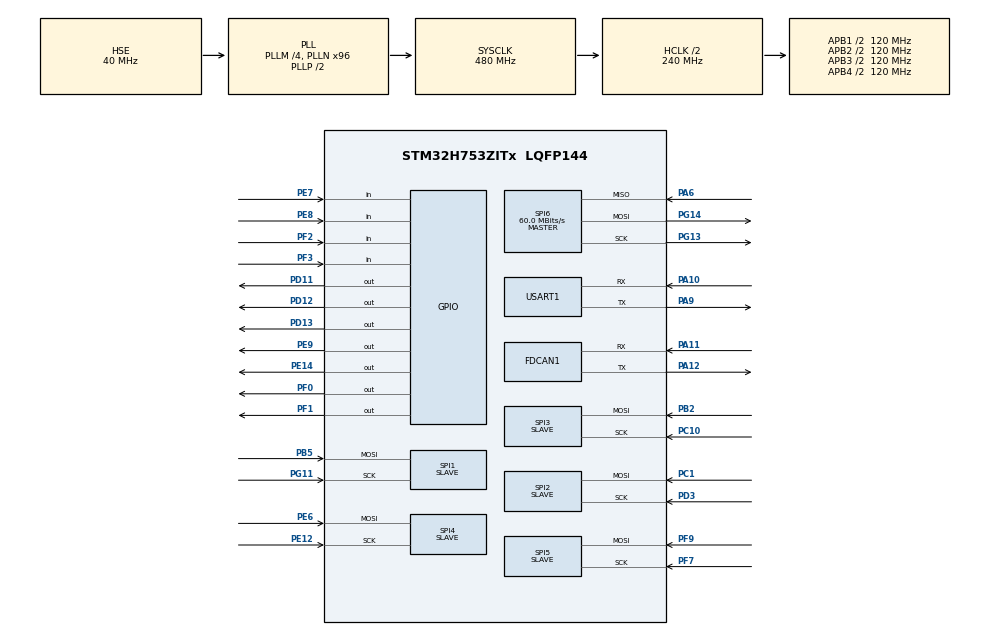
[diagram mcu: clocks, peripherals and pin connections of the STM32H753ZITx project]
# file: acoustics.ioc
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CORTEX_M7.default_mode_Activation=1
FDCAN1.CalculateBaudRateNominal=833333
FDCAN1.CalculateTimeBitNominal=1200
FDCAN1.CalculateTimeQuantumNominal=400.0
Mcu.Family=STM32H7
Mcu.Name=STM32H753ZITx
Mcu.Package=LQFP144
NVIC.PriorityGroup=NVIC_PRIORITYGROUP_4
PA10.Mode=Asynchronous
PA10.Signal=USART1_RX
PA11.Mode=FDCAN_Activate
PA11.Signal=FDCAN1_RX
PA12.Mode=FDCAN_Activate
PA12.Signal=FDCAN1_TX
PA13\ (JTMS/SWDIO).Mode=JTAG_5_pins
PA13\ (JTMS/SWDIO).Signal=DEBUG_JTMS-SWDIO
PA14\ (JTCK/SWCLK).Mode=JTAG_5_pins
PA14\ (JTCK/SWCLK).Signal=DEBUG_JTCK-SWCLK
PA15\ (JTDI).Mode=JTAG_5_pins
PA15\ (JTDI).Signal=DEBUG_JTDI
PA6.Mode=Full_Duplex_Master
PA6.Signal=SPI6_MISO
PA9.Mode=Asynchronous
PA9.Signal=USART1_TX
PB2.Mode=RX_Only_Simplex_Unidirect_Slave
PB2.Signal=SPI3_MOSI
PB3\ (JTDO/TRACESWO).Mode=JTAG_5_pins
PB3\ (JTDO/TRACESWO).Signal=DEBUG_JTDO-SWO
PB4\ (NJTRST).Mode=JTAG_5_pins
PB4\ (NJTRST).Signal=DEBUG_JTRST
PB5.Mode=RX_Only_Simplex_Unidirect_Slave
PB5.Signal=SPI1_MOSI
PC1.Mode=RX_Only_Simplex_Unidirect_Slave
PC1.Signal=SPI2_MOSI
PC10.Mode=RX_Only_Simplex_Unidirect_Slave
PC10.Signal=SPI3_SCK
PC14-OSC32_IN\ (OSC32_IN).Mode=LSE-External-Oscillator
PC14-OSC32_IN\ (OSC32_IN).Signal=RCC_OSC32_IN
PC15-OSC32_OUT\ (OSC32_OUT).Mode=LSE-External-Oscillator
PC15-OSC32_OUT\ (OSC32_OUT).Signal=RCC_OSC32_OUT
PD11.Signal=GPIO_Output
PD12.Signal=GPIO_Output
PD13.Signal=GPIO_Output
PD3.Mode=RX_Only_Simplex_Unidirect_Slave
PD3.Signal=SPI2_SCK
PE12.Mode=RX_Only_Simplex_Unidirect_Slave
PE12.Signal=SPI4_SCK
PE14.Signal=GPIO_Output
PE6.Mode=RX_Only_Simplex_Unidirect_Slave
PE6.Signal=SPI4_MOSI
PE7.Signal=GPIO_Input
PE8.Signal=GPIO_Input
PE9.Signal=GPIO_Output
PF0.Signal=GPIO_Output
PF1.Signal=GPIO_Output
PF2.Signal=GPIO_Input
PF3.Signal=GPIO_Input
PF7.Mode=RX_Only_Simplex_Unidirect_Slave
PF7.Signal=SPI5_SCK
PF9.Mode=RX_Only_Simplex_Unidirect_Slave
PF9.Signal=SPI5_MOSI
PG11.Mode=RX_Only_Simplex_Unidirect_Slave
PG11.Signal=SPI1_SCK
PG13.Mode=Full_Duplex_Master
PG13.Signal=SPI6_SCK
PG14.Mode=Full_Duplex_Master
PG14.Signal=SPI6_MOSI
PH0-OSC_IN\ (PH0).Mode=HSE-External-Clock-Source
PH0-OSC_IN\ (PH0).Signal=RCC_OSC_IN
ProjectManager.HeapSize=0x200
ProjectManager.StackSize=0x400
ProjectManager.TargetToolchain=STM32CubeIDE
RCC.ADCEnable-ClockTree=true
RCC.ADCFreq_Value=129000000
RCC.APB1Freq_Value=120000000
RCC.APB2Freq_Value=120000000
RCC.APB3Freq_Value=120000000
RCC.APB4Freq_Value=120000000
RCC.CortexFreq_Value=480000000
RCC.D1PPRE=RCC_APB3_DIV2
RCC.D2PPRE1=RCC_APB1_DIV2
RCC.D2PPRE2=RCC_APB2_DIV2
RCC.D3PPRE=RCC_APB4_DIV2
RCC.DIVM1=4
RCC.DIVN1=60
RCC.DIVQ1=5
RCC.FDCANCLockSelection=RCC_FDCANCLKSOURCE_HSE
RCC.HCLKFreq_Value=240000000
RCC.HPRE=RCC_HCLK_DIV2
RCC.HSE_VALUE=40000000
RCC.MCO2OutPutEnable-ClockTree=true
RCC.PLL1_VCI_Range-AdvancedSettings=RCC_PLL1VCIRANGE_1
RCC.PLL2FRACN=0
RCC.PLL2_VCI_Range-AdvancedSettings=RCC_PLL2VCIRANGE_0
RCC.PLL3FRACN=0
RCC.PLL3_VCI_Range-AdvancedSettings=RCC_PLL3VCIRANGE_0
RCC.PLLFRACN=0
RCC.RTCClockSelection=RCC_RTCCLKSOURCE_LSE
RCC.SAI23Enable-ClockTree=true
RCC.SYSCLKFreq_VALUE=480000000
RCC.SYSCLKSource=RCC_SYSCLKSOURCE_PLLCLK
RCC.USBFreq_Value=192000000
SPI1.Direction=SPI_DIRECTION_2LINES_RXONLY
SPI1.Mode=SPI_MODE_SLAVE
SPI1.VirtualType=VM_SLAVE
SPI2.Direction=SPI_DIRECTION_2LINES_RXONLY
SPI2.Mode=SPI_MODE_SLAVE
SPI2.VirtualType=VM_SLAVE
SPI3.Direction=SPI_DIRECTION_2LINES_RXONLY
SPI3.Mode=SPI_MODE_SLAVE
SPI3.VirtualType=VM_SLAVE
SPI4.Direction=SPI_DIRECTION_2LINES_RXONLY
SPI4.Mode=SPI_MODE_SLAVE
SPI4.VirtualType=VM_SLAVE
SPI5.Direction=SPI_DIRECTION_2LINES_RXONLY
SPI5.Mode=SPI_MODE_SLAVE
SPI5.VirtualType=VM_SLAVE
SPI6.CalculateBaudRate=60.0 MBits/s
SPI6.Direction=SPI_DIRECTION_2LINES
SPI6.Mode=SPI_MODE_MASTER
SPI6.VirtualType=VM_MASTER
USART1.VirtualMode-Asynchronous=VM_ASYNC
VP_MEMORYMAP_VS_MEMORYMAP.Mode=CurAppReg
VP_RTC_VS_RTC_Activate.Mode=RTC_Enabled
board=custom

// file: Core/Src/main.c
/* USER CODE BEGIN Header */
/**
 ******************************************************************************
 * @file           : main.c
 * @brief          : Main program body
 ******************************************************************************
 * @attention
 *
 * Copyright (c) 2025 STMicroelectronics.
 * All rights reserved.
 *
 * This software is licensed under terms that can be found in the LICENSE file
 * in the root directory of this software component.
 * If no LICENSE file comes with this software, it is provided AS-IS.
 *
 ******************************************************************************
 */
/* USER CODE END Header */
#include "main.h"

/* USER CODE BEGIN Includes */
#include "arm_math_types.h"
#include "communication.h"
#include "dsp.h"
#include "multilateration.h"

/* USER CODE END Includes */

/* USER CODE BEGIN PM */
#define RAW_SAMPLES_SIZE 12000
#define DECIMATE_SAMPLES 6000

/* USER CODE END PM */

FDCAN_HandleTypeDef hfdcan1;

RTC_HandleTypeDef hrtc;

SPI_HandleTypeDef hspi1;
SPI_HandleTypeDef hspi2;
SPI_HandleTypeDef hspi3;
SPI_HandleTypeDef hspi4;
SPI_HandleTypeDef hspi5;
SPI_HandleTypeDef hspi6;
DMA_HandleTypeDef hdma_spi1_rx;
DMA_HandleTypeDef hdma_spi2_rx;
DMA_HandleTypeDef hdma_spi3_rx;
DMA_HandleTypeDef hdma_spi4_rx;
DMA_HandleTypeDef hdma_spi5_rx;

UART_HandleTypeDef huart1;

/* USER CODE BEGIN PV */

struct dsp_context dsp_context;
const q15_t* mf_ref_i;
const q15_t* mf_ref_q;

q15_t raw_hydrophone_0[RAW_SAMPLES_SIZE];
q15_t raw_hydrophone_1[RAW_SAMPLES_SIZE];
q15_t raw_hydrophone_2[RAW_SAMPLES_SIZE];
q15_t raw_hydrophone_3[RAW_SAMPLES_SIZE];
q15_t raw_hydrophone_4[RAW_SAMPLES_SIZE];

q15_t hydrophone_0_i[RAW_SAMPLES_SIZE];
q15_t hydrophone_0_q[RAW_SAMPLES_SIZE];
q15_t hydrophone_1_i[RAW_SAMPLES_SIZE];
q15_t hydrophone_1_q[RAW_SAMPLES_SIZE];
q15_t hydrophone_2_i[RAW_SAMPLES_SIZE];
q15_t hydrophone_2_q[RAW_SAMPLES_SIZE];
q15_t hydrophone_3_i[RAW_SAMPLES_SIZE];
q15_t hydrophone_3_q[RAW_SAMPLES_SIZE];
q15_t hydrophone_4_i[RAW_SAMPLES_SIZE];
q15_t hydrophone_4_q[RAW_SAMPLES_SIZE];

__attribute__((section(".dtcm_data"))) q15_t decimate_0_i[DECIMATE_SAMPLES];
__attribute__((section(".dtcm_data"))) q15_t decimate_0_q[DECIMATE_SAMPLES];
__attribute__((section(".dtcm_data"))) q15_t decimate_1_i[DECIMATE_SAMPLES];
__attribute__((section(".dtcm_data"))) q15_t decimate_1_q[DECIMATE_SAMPLES];
__attribute__((section(".dtcm_data"))) q15_t decimate_2_i[DECIMATE_SAMPLES];
__attribute__((section(".dtcm_data"))) q15_t decimate_2_q[DECIMATE_SAMPLES];
__attribute__((section(".dtcm_data"))) q15_t decimate_3_i[DECIMATE_SAMPLES];
__attribute__((section(".dtcm_data"))) q15_t decimate_3_q[DECIMATE_SAMPLES];
__attribute__((section(".dtcm_data"))) q15_t decimate_4_i[DECIMATE_SAMPLES];
__attribute__((section(".dtcm_data"))) q15_t decimate_4_q[DECIMATE_SAMPLES];

/* USER CODE END PV */

void SystemClock_Config(void);
static void MPU_Config(void);
static void MX_GPIO_Init(void);
static void MX_DMA_Init(void);
static void MX_FDCAN1_Init(void);
static void MX_RTC_Init(void);
static void MX_SPI1_Init(void);
static void MX_SPI2_Init(void);
static void MX_SPI3_Init(void);
static void MX_USART1_UART_Init(void);
static void MX_SPI4_Init(void);
static void MX_SPI5_Init(void);
static void MX_SPI6_Init(void);

int main(void)
{

  /* MPU Configuration--------------------------------------------------------*/
  MPU_Config();

  /* MCU Configuration--------------------------------------------------------*/

  /* Reset of all peripherals, Initializes the Flash interface and the Systick. */
  HAL_Init();

  /* Configure the system clock */
  SystemClock_Config();

  /* USER CODE BEGIN SysInit */
    dsp_init(&dsp_context, mf_ref_i, mf_ref_q, 69);

  /* USER CODE END SysInit */

  /* Initialize all configured peripherals */
  MX_GPIO_Init();
  MX_DMA_Init();
  MX_FDCAN1_Init();
  MX_RTC_Init();
  MX_SPI1_Init();
  MX_SPI2_Init();
  MX_SPI3_Init();
  MX_USART1_UART_Init();
  MX_SPI4_Init();
  MX_SPI5_Init();
  MX_SPI6_Init();

  /* Infinite loop */
  while (1)
  {

    }
}

void SystemClock_Config(void)
{
  RCC_OscInitTypeDef RCC_OscInitStruct = {0};
  RCC_ClkInitTypeDef RCC_ClkInitStruct = {0};

  /** Supply configuration update enable
  */
  HAL_PWREx_ConfigSupply(PWR_LDO_SUPPLY);

  /** Configure the main internal regulator output voltage
  */
  __HAL_PWR_VOLTAGESCALING_CONFIG(PWR_REGULATOR_VOLTAGE_SCALE0);

  while(!__HAL_PWR_GET_FLAG(PWR_FLAG_VOSRDY)) {}

  /** Initializes the RCC Oscillators according to the specified parameters
  * in the RCC_OscInitTypeDef structure.
  */
  RCC_OscInitStruct.OscillatorType = RCC_OSCILLATORTYPE_LSI|RCC_OSCILLATORTYPE_HSE;
  RCC_OscInitStruct.HSEState = RCC_HSE_BYPASS;
  RCC_OscInitStruct.LSIState = RCC_LSI_ON;
  RCC_OscInitStruct.PLL.PLLState = RCC_PLL_ON;
  RCC_OscInitStruct.PLL.PLLSource = RCC_PLLSOURCE_HSE;
  RCC_OscInitStruct.PLL.PLLM = 4;
  RCC_OscInitStruct.PLL.PLLN = 96;
  RCC_OscInitStruct.PLL.PLLP = 2;
  RCC_OscInitStruct.PLL.PLLQ = 5;
  RCC_OscInitStruct.PLL.PLLR = 2;
  RCC_OscInitStruct.PLL.PLLRGE = RCC_PLL1VCIRANGE_3;
  RCC_OscInitStruct.PLL.PLLVCOSEL = RCC_PLL1VCOWIDE;
  RCC_OscInitStruct.PLL.PLLFRACN = 0;
  if (HAL_RCC_OscConfig(&RCC_OscInitStruct) != HAL_OK)
  {
    Error_Handler();
  }

  /** Initializes the CPU, AHB and APB buses clocks
  */
  RCC_ClkInitStruct.ClockType = RCC_CLOCKTYPE_HCLK|RCC_CLOCKTYPE_SYSCLK
                              |RCC_CLOCKTYPE_PCLK1|RCC_CLOCKTYPE_PCLK2
                              |RCC_CLOCKTYPE_D3PCLK1|RCC_CLOCKTYPE_D1PCLK1;
  RCC_ClkInitStruct.SYSCLKSource = RCC_SYSCLKSOURCE_PLLCLK;
  RCC_ClkInitStruct.SYSCLKDivider = RCC_SYSCLK_DIV1;
  RCC_ClkInitStruct.AHBCLKDivider = RCC_HCLK_DIV2;
  RCC_ClkInitStruct.APB3CLKDivider = RCC_APB3_DIV2;
  RCC_ClkInitStruct.APB1CLKDivider = RCC_APB1_DIV2;
  RCC_ClkInitStruct.APB2CLKDivider = RCC_APB2_DIV2;
  RCC_ClkInitStruct.APB4CLKDivider = RCC_APB4_DIV2;

  if (HAL_RCC_ClockConfig(&RCC_ClkInitStruct, FLASH_LATENCY_4) != HAL_OK)
  {
    Error_Handler();
  }
}

static void MX_FDCAN1_Init(void)
{

  hfdcan1.Instance = FDCAN1;
  hfdcan1.Init.FrameFormat = FDCAN_FRAME_CLASSIC;
  hfdcan1.Init.Mode = FDCAN_MODE_NORMAL;
  hfdcan1.Init.AutoRetransmission = DISABLE;
  hfdcan1.Init.TransmitPause = DISABLE;
  hfdcan1.Init.ProtocolException = DISABLE;
  hfdcan1.Init.NominalPrescaler = 16;
  hfdcan1.Init.NominalSyncJumpWidth = 1;
  hfdcan1.Init.NominalTimeSeg1 = 1;
  hfdcan1.Init.NominalTimeSeg2 = 1;
  hfdcan1.Init.DataPrescaler = 1;
  hfdcan1.Init.DataSyncJumpWidth = 1;
  hfdcan1.Init.DataTimeSeg1 = 1;
  hfdcan1.Init.DataTimeSeg2 = 1;
  hfdcan1.Init.MessageRAMOffset = 0;
  hfdcan1.Init.StdFiltersNbr = 0;
  hfdcan1.Init.ExtFiltersNbr = 0;
  hfdcan1.Init.RxFifo0ElmtsNbr = 0;
  hfdcan1.Init.RxFifo0ElmtSize = FDCAN_DATA_BYTES_8;
  hfdcan1.Init.RxFifo1ElmtsNbr = 0;
  hfdcan1.Init.RxFifo1ElmtSize = FDCAN_DATA_BYTES_8;
  hfdcan1.Init.RxBuffersNbr = 0;
  hfdcan1.Init.RxBufferSize = FDCAN_DATA_BYTES_8;
  hfdcan1.Init.TxEventsNbr = 0;
  hfdcan1.Init.TxBuffersNbr = 32;
  hfdcan1.Init.TxFifoQueueElmtsNbr = 0;
  hfdcan1.Init.TxFifoQueueMode = FDCAN_TX_FIFO_OPERATION;
  hfdcan1.Init.TxElmtSize = FDCAN_DATA_BYTES_8;
  if (HAL_FDCAN_Init(&hfdcan1) != HAL_OK)
  {
    Error_Handler();
  }

}

static void MX_RTC_Init(void)
{

  /** Initialize RTC Only
  */
  hrtc.Instance = RTC;
  hrtc.Init.HourFormat = RTC_HOURFORMAT_24;
  hrtc.Init.AsynchPrediv = 127;
  hrtc.Init.SynchPrediv = 255;
  hrtc.Init.OutPut = RTC_OUTPUT_DISABLE;
  hrtc.Init.OutPutPolarity = RTC_OUTPUT_POLARITY_HIGH;
  hrtc.Init.OutPutType = RTC_OUTPUT_TYPE_OPENDRAIN;
  hrtc.Init.OutPutRemap = RTC_OUTPUT_REMAP_NONE;
  if (HAL_RTC_Init(&hrtc) != HAL_OK)
  {
    Error_Handler();
  }

}

static void MX_SPI1_Init(void)
{

  /* SPI1 parameter configuration*/
  hspi1.Instance = SPI1;
  hspi1.Init.Mode = SPI_MODE_SLAVE;
  hspi1.Init.Direction = SPI_DIRECTION_2LINES_RXONLY;
  hspi1.Init.DataSize = SPI_DATASIZE_4BIT;
  hspi1.Init.CLKPolarity = SPI_POLARITY_LOW;
  hspi1.Init.CLKPhase = SPI_PHASE_1EDGE;
  hspi1.Init.NSS = SPI_NSS_SOFT;
  hspi1.Init.FirstBit = SPI_FIRSTBIT_MSB;
  hspi1.Init.TIMode = SPI_TIMODE_DISABLE;
  hspi1.Init.CRCCalculation = SPI_CRCCALCULATION_DISABLE;
  hspi1.Init.CRCPolynomial = 0x0;
  hspi1.Init.NSSPMode = SPI_NSS_PULSE_DISABLE;
  hspi1.Init.NSSPolarity = SPI_NSS_POLARITY_LOW;
  hspi1.Init.FifoThreshold = SPI_FIFO_THRESHOLD_01DATA;
  hspi1.Init.TxCRCInitializationPattern = SPI_CRC_INITIALIZATION_ALL_ZERO_PATTERN;
  hspi1.Init.RxCRCInitializationPattern = SPI_CRC_INITIALIZATION_ALL_ZERO_PATTERN;
  hspi1.Init.MasterSSIdleness = SPI_MASTER_SS_IDLENESS_00CYCLE;
  hspi1.Init.MasterInterDataIdleness = SPI_MASTER_INTERDATA_IDLENESS_00CYCLE;
  hspi1.Init.MasterReceiverAutoSusp = SPI_MASTER_RX_AUTOSUSP_DISABLE;
  hspi1.Init.MasterKeepIOState = SPI_MASTER_KEEP_IO_STATE_DISABLE;
  hspi1.Init.IOSwap = SPI_IO_SWAP_DISABLE;
  if (HAL_SPI_Init(&hspi1) != HAL_OK)
  {
    Error_Handler();
  }

}

static void MX_SPI2_Init(void)
{

  /* SPI2 parameter configuration*/
  hspi2.Instance = SPI2;
  hspi2.Init.Mode = SPI_MODE_SLAVE;
  hspi2.Init.Direction = SPI_DIRECTION_2LINES_RXONLY;
  hspi2.Init.DataSize = SPI_DATASIZE_4BIT;
  hspi2.Init.CLKPolarity = SPI_POLARITY_LOW;
  hspi2.Init.CLKPhase = SPI_PHASE_1EDGE;
  hspi2.Init.NSS = SPI_NSS_SOFT;
  hspi2.Init.FirstBit = SPI_FIRSTBIT_MSB;
  hspi2.Init.TIMode = SPI_TIMODE_DISABLE;
  hspi2.Init.CRCCalculation = SPI_CRCCALCULATION_DISABLE;
  hspi2.Init.CRCPolynomial = 0x0;
  hspi2.Init.NSSPMode = SPI_NSS_PULSE_DISABLE;
  hspi2.Init.NSSPolarity = SPI_NSS_POLARITY_LOW;
  hspi2.Init.FifoThreshold = SPI_FIFO_THRESHOLD_01DATA;
  hspi2.Init.TxCRCInitializationPattern = SPI_CRC_INITIALIZATION_ALL_ZERO_PATTERN;
  hspi2.Init.RxCRCInitializationPattern = SPI_CRC_INITIALIZATION_ALL_ZERO_PATTERN;
  hspi2.Init.MasterSSIdleness = SPI_MASTER_SS_IDLENESS_00CYCLE;
  hspi2.Init.MasterInterDataIdleness = SPI_MASTER_INTERDATA_IDLENESS_00CYCLE;
  hspi2.Init.MasterReceiverAutoSusp = SPI_MASTER_RX_AUTOSUSP_DISABLE;
  hspi2.Init.MasterKeepIOState = SPI_MASTER_KEEP_IO_STATE_DISABLE;
  hspi2.Init.IOSwap = SPI_IO_SWAP_DISABLE;
  if (HAL_SPI_Init(&hspi2) != HAL_OK)
  {
    Error_Handler();
  }

}

static void MX_SPI3_Init(void)
{

  /* SPI3 parameter configuration*/
  hspi3.Instance = SPI3;
  hspi3.Init.Mode = SPI_MODE_SLAVE;
  hspi3.Init.Direction = SPI_DIRECTION_2LINES_RXONLY;
  hspi3.Init.DataSize = SPI_DATASIZE_4BIT;
  hspi3.Init.CLKPolarity = SPI_POLARITY_LOW;
  hspi3.Init.CLKPhase = SPI_PHASE_1EDGE;
  hspi3.Init.NSS = SPI_NSS_SOFT;
  hspi3.Init.FirstBit = SPI_FIRSTBIT_MSB;
  hspi3.Init.TIMode = SPI_TIMODE_DISABLE;
  hspi3.Init.CRCCalculation = SPI_CRCCALCULATION_DISABLE;
  hspi3.Init.CRCPolynomial = 0x0;
  hspi3.Init.NSSPMode = SPI_NSS_PULSE_DISABLE;
  hspi3.Init.NSSPolarity = SPI_NSS_POLARITY_LOW;
  hspi3.Init.FifoThreshold = SPI_FIFO_THRESHOLD_01DATA;
  hspi3.Init.TxCRCInitializationPattern = SPI_CRC_INITIALIZATION_ALL_ZERO_PATTERN;
  hspi3.Init.RxCRCInitializationPattern = SPI_CRC_INITIALIZATION_ALL_ZERO_PATTERN;
  hspi3.Init.MasterSSIdleness = SPI_MASTER_SS_IDLENESS_00CYCLE;
  hspi3.Init.MasterInterDataIdleness = SPI_MASTER_INTERDATA_IDLENESS_00CYCLE;
  hspi3.Init.MasterReceiverAutoSusp = SPI_MASTER_RX_AUTOSUSP_DISABLE;
  hspi3.Init.MasterKeepIOState = SPI_MASTER_KEEP_IO_STATE_DISABLE;
  hspi3.Init.IOSwap = SPI_IO_SWAP_DISABLE;
  if (HAL_SPI_Init(&hspi3) != HAL_OK)
  {
    Error_Handler();
  }

}

static void MX_SPI4_Init(void)
{

  /* SPI4 parameter configuration*/
  hspi4.Instance = SPI4;
  hspi4.Init.Mode = SPI_MODE_SLAVE;
  hspi4.Init.Direction = SPI_DIRECTION_2LINES_RXONLY;
  hspi4.Init.DataSize = SPI_DATASIZE_4BIT;
  hspi4.Init.CLKPolarity = SPI_POLARITY_LOW;
  hspi4.Init.CLKPhase = SPI_PHASE_1EDGE;
  hspi4.Init.NSS = SPI_NSS_SOFT;
  hspi4.Init.FirstBit = SPI_FIRSTBIT_MSB;
  hspi4.Init.TIMode = SPI_TIMODE_DISABLE;
  hspi4.Init.CRCCalculation = SPI_CRCCALCULATION_DISABLE;
  hspi4.Init.CRCPolynomial = 0x0;
  hspi4.Init.NSSPMode = SPI_NSS_PULSE_DISABLE;
  hspi4.Init.NSSPolarity = SPI_NSS_POLARITY_LOW;
  hspi4.Init.FifoThreshold = SPI_FIFO_THRESHOLD_01DATA;
  hspi4.Init.TxCRCInitializationPattern = SPI_CRC_INITIALIZATION_ALL_ZERO_PATTERN;
  hspi4.Init.RxCRCInitializationPattern = SPI_CRC_INITIALIZATION_ALL_ZERO_PATTERN;
  hspi4.Init.MasterSSIdleness = SPI_MASTER_SS_IDLENESS_00CYCLE;
  hspi4.Init.MasterInterDataIdleness = SPI_MASTER_INTERDATA_IDLENESS_00CYCLE;
  hspi4.Init.MasterReceiverAutoSusp = SPI_MASTER_RX_AUTOSUSP_DISABLE;
  hspi4.Init.MasterKeepIOState = SPI_MASTER_KEEP_IO_STATE_DISABLE;
  hspi4.Init.IOSwap = SPI_IO_SWAP_DISABLE;
  if (HAL_SPI_Init(&hspi4) != HAL_OK)
  {
    Error_Handler();
  }

}

static void MX_SPI5_Init(void)
{

  /* SPI5 parameter configuration*/
  hspi5.Instance = SPI5;
  hspi5.Init.Mode = SPI_MODE_SLAVE;
  hspi5.Init.Direction = SPI_DIRECTION_2LINES_RXONLY;
  hspi5.Init.DataSize = SPI_DATASIZE_4BIT;
  hspi5.Init.CLKPolarity = SPI_POLARITY_LOW;
  hspi5.Init.CLKPhase = SPI_PHASE_1EDGE;
  hspi5.Init.NSS = SPI_NSS_SOFT;
  hspi5.Init.FirstBit = SPI_FIRSTBIT_MSB;
  hspi5.Init.TIMode = SPI_TIMODE_DISABLE;
  hspi5.Init.CRCCalculation = SPI_CRCCALCULATION_DISABLE;
  hspi5.Init.CRCPolynomial = 0x0;
  hspi5.Init.NSSPMode = SPI_NSS_PULSE_DISABLE;
  hspi5.Init.NSSPolarity = SPI_NSS_POLARITY_LOW;
  hspi5.Init.FifoThreshold = SPI_FIFO_THRESHOLD_01DATA;
  hspi5.Init.TxCRCInitializationPattern = SPI_CRC_INITIALIZATION_ALL_ZERO_PATTERN;
  hspi5.Init.RxCRCInitializationPattern = SPI_CRC_INITIALIZATION_ALL_ZERO_PATTERN;
  hspi5.Init.MasterSSIdleness = SPI_MASTER_SS_IDLENESS_00CYCLE;
  hspi5.Init.MasterInterDataIdleness = SPI_MASTER_INTERDATA_IDLENESS_00CYCLE;
  hspi5.Init.MasterReceiverAutoSusp = SPI_MASTER_RX_AUTOSUSP_DISABLE;
  hspi5.Init.MasterKeepIOState = SPI_MASTER_KEEP_IO_STATE_DISABLE;
  hspi5.Init.IOSwap = SPI_IO_SWAP_DISABLE;
  if (HAL_SPI_Init(&hspi5) != HAL_OK)
  {
    Error_Handler();
  }

}

static void MX_SPI6_Init(void)
{

  /* SPI6 parameter configuration*/
  hspi6.Instance = SPI6;
  hspi6.Init.Mode = SPI_MODE_MASTER;
  hspi6.Init.Direction = SPI_DIRECTION_2LINES;
  hspi6.Init.DataSize = SPI_DATASIZE_4BIT;
  hspi6.Init.CLKPolarity = SPI_POLARITY_LOW;
  hspi6.Init.CLKPhase = SPI_PHASE_1EDGE;
  hspi6.Init.NSS = SPI_NSS_SOFT;
  hspi6.Init.BaudRatePrescaler = SPI_BAUDRATEPRESCALER_2;
  hspi6.Init.FirstBit = SPI_FIRSTBIT_MSB;
  hspi6.Init.TIMode = SPI_TIMODE_DISABLE;
  hspi6.Init.CRCCalculation = SPI_CRCCALCULATION_DISABLE;
  hspi6.Init.CRCPolynomial = 0x0;
  hspi6.Init.NSSPMode = SPI_NSS_PULSE_ENABLE;
  hspi6.Init.NSSPolarity = SPI_NSS_POLARITY_LOW;
  hspi6.Init.FifoThreshold = SPI_FIFO_THRESHOLD_01DATA;
  hspi6.Init.TxCRCInitializationPattern = SPI_CRC_INITIALIZATION_ALL_ZERO_PATTERN;
  hspi6.Init.RxCRCInitializationPattern = SPI_CRC_INITIALIZATION_ALL_ZERO_PATTERN;
  hspi6.Init.MasterSSIdleness = SPI_MASTER_SS_IDLENESS_00CYCLE;
  hspi6.Init.MasterInterDataIdleness = SPI_MASTER_INTERDATA_IDLENESS_00CYCLE;
  hspi6.Init.MasterReceiverAutoSusp = SPI_MASTER_RX_AUTOSUSP_DISABLE;
  hspi6.Init.MasterKeepIOState = SPI_MASTER_KEEP_IO_STATE_DISABLE;
  hspi6.Init.IOSwap = SPI_IO_SWAP_DISABLE;
  if (HAL_SPI_Init(&hspi6) != HAL_OK)
  {
    Error_Handler();
  }

}

static void MX_USART1_UART_Init(void)
{

  huart1.Instance = USART1;
  huart1.Init.BaudRate = 115200;
  huart1.Init.WordLength = UART_WORDLENGTH_8B;
  huart1.Init.StopBits = UART_STOPBITS_1;
  huart1.Init.Parity = UART_PARITY_NONE;
  huart1.Init.Mode = UART_MODE_TX_RX;
  huart1.Init.HwFlowCtl = UART_HWCONTROL_NONE;
  huart1.Init.OverSampling = UART_OVERSAMPLING_16;%
  huart1.Init.OneBitSampling = UART_ONE_BIT_SAMPLE_DISABLE;
  huart1.Init.ClockPrescaler = UART_PRESCALER_DIV1;
  huart1.AdvancedInit.AdvFeatureInit = UART_ADVFEATURE_NO_INIT;
  if (HAL_UART_Init(&huart1) != HAL_OK)
  {
    Error_Handler();
  }
  if (HAL_UARTEx_SetTxFifoThreshold(&huart1, UART_TXFIFO_THRESHOLD_1_8) != HAL_OK)
  {
    Error_Handler();
  }
  if (HAL_UARTEx_SetRxFifoThreshold(&huart1, UART_RXFIFO_THRESHOLD_1_8) != HAL_OK)
  {
    Error_Handler();
  }
  if (HAL_UARTEx_DisableFifoMode(&huart1) != HAL_OK)
  {
    Error_Handler();
  }

}

static void MX_DMA_Init(void)
{

  /* DMA controller clock enable */
  __HAL_RCC_DMA1_CLK_ENABLE();

  /* DMA interrupt init */
  /* DMA1_Stream0_IRQn interrupt configuration */
  HAL_NVIC_SetPriority(DMA1_Stream0_IRQn, 0, 0);
  HAL_NVIC_EnableIRQ(DMA1_Stream0_IRQn);
  /* DMA1_Stream1_IRQn interrupt configuration */
  HAL_NVIC_SetPriority(DMA1_Stream1_IRQn, 0, 0);
  HAL_NVIC_EnableIRQ(DMA1_Stream1_IRQn);
  /* DMA1_Stream2_IRQn interrupt configuration */
  HAL_NVIC_SetPriority(DMA1_Stream2_IRQn, 0, 0);
  HAL_NVIC_EnableIRQ(DMA1_Stream2_IRQn);
  /* DMA1_Stream3_IRQn interrupt configuration */
  HAL_NVIC_SetPriority(DMA1_Stream3_IRQn, 0, 0);
  HAL_NVIC_EnableIRQ(DMA1_Stream3_IRQn);
  /* DMA1_Stream4_IRQn interrupt configuration */
  HAL_NVIC_SetPriority(DMA1_Stream4_IRQn, 0, 0);
  HAL_NVIC_EnableIRQ(DMA1_Stream4_IRQn);

}

static void MX_GPIO_Init(void)
{
  GPIO_InitTypeDef GPIO_InitStruct = {0};

  /* GPIO Ports Clock Enable */
  __HAL_RCC_GPIOE_CLK_ENABLE();
  __HAL_RCC_GPIOC_CLK_ENABLE();
  __HAL_RCC_GPIOF_CLK_ENABLE();
  __HAL_RCC_GPIOH_CLK_ENABLE();
  __HAL_RCC_GPIOA_CLK_ENABLE();
  __HAL_RCC_GPIOB_CLK_ENABLE();
  __HAL_RCC_GPIOD_CLK_ENABLE();
  __HAL_RCC_GPIOG_CLK_ENABLE();

  /*Configure GPIO pin Output Level */
  HAL_GPIO_WritePin(GPIOF, GPIO_PIN_0|GPIO_PIN_1, GPIO_PIN_RESET);

  /*Configure GPIO pin Output Level */
  HAL_GPIO_WritePin(GPIOE, GPIO_PIN_9|GPIO_PIN_14, GPIO_PIN_RESET);

  /*Configure GPIO pin Output Level */
  HAL_GPIO_WritePin(GPIOD, GPIO_PIN_11|GPIO_PIN_12|GPIO_PIN_13, GPIO_PIN_RESET);

  /*Configure GPIO pins : PF0 PF1 */
  GPIO_InitStruct.Pin = GPIO_PIN_0|GPIO_PIN_1;
  GPIO_InitStruct.Mode = GPIO_MODE_OUTPUT_PP;
  GPIO_InitStruct.Pull = GPIO_NOPULL;
  GPIO_InitStruct.Speed = GPIO_SPEED_FREQ_LOW;
  HAL_GPIO_Init(GPIOF, &GPIO_InitStruct);

  /*Configure GPIO pins : PF2 PF3 */
  GPIO_InitStruct.Pin = GPIO_PIN_2|GPIO_PIN_3;
  GPIO_InitStruct.Mode = GPIO_MODE_INPUT;
  GPIO_InitStruct.Pull = GPIO_NOPULL;
  HAL_GPIO_Init(GPIOF, &GPIO_InitStruct);

  /*Configure GPIO pins : PE7 PE8 */
  GPIO_InitStruct.Pin = GPIO_PIN_7|GPIO_PIN_8;
  GPIO_InitStruct.Mode = GPIO_MODE_INPUT;
  GPIO_InitStruct.Pull = GPIO_NOPULL;
  HAL_GPIO_Init(GPIOE, &GPIO_InitStruct);

  /*Configure GPIO pins : PE9 PE14 */
  GPIO_InitStruct.Pin = GPIO_PIN_9|GPIO_PIN_14;
  GPIO_InitStruct.Mode = GPIO_MODE_OUTPUT_PP;
  GPIO_InitStruct.Pull = GPIO_NOPULL;
  GPIO_InitStruct.Speed = GPIO_SPEED_FREQ_LOW;
  HAL_GPIO_Init(GPIOE, &GPIO_InitStruct);

  /*Configure GPIO pins : PD11 PD12 PD13 */
  GPIO_InitStruct.Pin = GPIO_PIN_11|GPIO_PIN_12|GPIO_PIN_13;
  GPIO_InitStruct.Mode = GPIO_MODE_OUTPUT_PP;
  GPIO_InitStruct.Pull = GPIO_NOPULL;
  GPIO_InitStruct.Speed = GPIO_SPEED_FREQ_LOW;
  HAL_GPIO_Init(GPIOD, &GPIO_InitStruct);

}

 /* MPU Configuration */

void MPU_Config(void)
{
  MPU_Region_InitTypeDef MPU_InitStruct = {0};

  /* Disables the MPU */
  HAL_MPU_Disable();

  /** Initializes and configures the Region and the memory to be protected
  */
  MPU_InitStruct.Enable = MPU_REGION_ENABLE;
  MPU_InitStruct.Number = MPU_REGION_NUMBER0;
  MPU_InitStruct.BaseAddress = 0x0;
  MPU_InitStruct.Size = MPU_REGION_SIZE_4GB;
  MPU_InitStruct.SubRegionDisable = 0x87;
  MPU_InitStruct.TypeExtField = MPU_TEX_LEVEL0;
  MPU_InitStruct.AccessPermission = MPU_REGION_NO_ACCESS;
  MPU_InitStruct.DisableExec = MPU_INSTRUCTION_ACCESS_DISABLE;
  MPU_InitStruct.IsShareable = MPU_ACCESS_SHAREABLE;
  MPU_InitStruct.IsCacheable = MPU_ACCESS_NOT_CACHEABLE;
  MPU_InitStruct.IsBufferable = MPU_ACCESS_NOT_BUFFERABLE;

  HAL_MPU_ConfigRegion(&MPU_InitStruct);
  /* Enables the MPU */
  HAL_MPU_Enable(MPU_PRIVILEGED_DEFAULT);

}

void Error_Handler(void)
{
  /* USER CODE BEGIN Error_Handler_Debug */
    /* User can add his own implementation to report the HAL error return state
     */
    __disable_irq();
    while (1) {
    }
  /* USER CODE END Error_Handler_Debug */
}
#ifdef USE_FULL_ASSERT
/**
  * @brief  Reports the name of the source file and the source line number
  *         where the assert_param error has occurred.
  * @param  file: pointer to the source file name
  * @param  line: assert_param error line source number
  * @retval None
  */
void assert_failed(uint8_t *file, uint32_t line)
{
  /* USER CODE BEGIN 6 */
    /* User can add his own implementation to report the file name and line
       number, ex: printf("Wrong parameters value: file %s on line %d\r\n",
       file, line) */
  /* USER CODE END 6 */
}
#endif /* USE_FULL_ASSERT */
